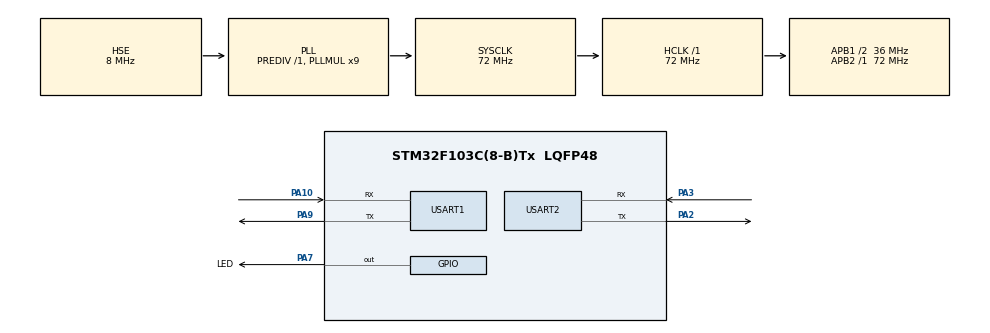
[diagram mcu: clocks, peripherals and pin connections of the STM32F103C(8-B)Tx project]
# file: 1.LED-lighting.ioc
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Dma.Request0=USART2_RX
Dma.USART2_RX.0.Direction=DMA_PERIPH_TO_MEMORY
Dma.USART2_RX.0.Instance=DMA1_Channel6
Dma.USART2_RX.0.MemDataAlignment=DMA_MDATAALIGN_BYTE
Dma.USART2_RX.0.MemInc=DMA_MINC_ENABLE
Dma.USART2_RX.0.Mode=DMA_CIRCULAR
Dma.USART2_RX.0.PeriphDataAlignment=DMA_PDATAALIGN_BYTE
Dma.USART2_RX.0.PeriphInc=DMA_PINC_DISABLE
Dma.USART2_RX.0.Priority=DMA_PRIORITY_LOW
Mcu.Family=STM32F1
Mcu.Name=STM32F103C(8-B)Tx
Mcu.Package=LQFP48
NVIC.DMA1_Channel6_IRQn=true\:0\:0\:false\:false\:true\:false\:true\:true
NVIC.PriorityGroup=NVIC_PRIORITYGROUP_4
NVIC.USART2_IRQn=true\:0\:0\:false\:false\:true\:true\:true\:true
PA0-WKUP.Mode=SYS_WakeUp0
PA0-WKUP.Signal=SYS_WKUP
PA10.Mode=Asynchronous
PA10.Signal=USART1_RX
PA2.Mode=Asynchronous
PA2.Signal=USART2_TX
PA3.GPIO_PuPd=GPIO_PULLUP
PA3.Mode=Asynchronous
PA3.Signal=USART2_RX
PA7.GPIO_Label=LED
PA7.Signal=GPIO_Output
PA8.Signal=USART1_CK
PA9.Mode=Asynchronous
PA9.Signal=USART1_TX
PC14-OSC32_IN.Mode=LSE-External-Oscillator
PC14-OSC32_IN.Signal=RCC_OSC32_IN
PC15-OSC32_OUT.Mode=LSE-External-Oscillator
PC15-OSC32_OUT.Signal=RCC_OSC32_OUT
PD0-OSC_IN.Mode=HSE-External-Oscillator
PD0-OSC_IN.Signal=RCC_OSC_IN
PD1-OSC_OUT.Mode=HSE-External-Oscillator
PD1-OSC_OUT.Signal=RCC_OSC_OUT
ProjectManager.HeapSize=0x200
ProjectManager.StackSize=0x400
ProjectManager.TargetToolchain=MDK-ARM V5.32
RCC.AHBFreq_Value=72000000
RCC.APB1CLKDivider=RCC_HCLK_DIV2
RCC.APB1Freq_Value=36000000
RCC.APB1TimFreq_Value=72000000
RCC.APB2Freq_Value=72000000
RCC.APB2TimFreq_Value=72000000
RCC.HCLKFreq_Value=72000000
RCC.PLLMUL=RCC_PLL_MUL9
RCC.PLLSourceVirtual=RCC_PLLSOURCE_HSE
RCC.SYSCLKFreq_VALUE=72000000
RCC.SYSCLKSource=RCC_SYSCLKSOURCE_PLLCLK
RCC.USBFreq_Value=72000000
USART1.VirtualMode=VM_ASYNC
USART2.VirtualMode=VM_ASYNC
VP_SYS_VS_ND.Mode=No_Debug
board=custom

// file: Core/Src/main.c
/* USER CODE BEGIN Header */
/**
  ******************************************************************************
  * @file           : main.c
  * @brief          : Main program body
  ******************************************************************************
  * @attention
  *
  * Copyright (c) 2024 STMicroelectronics.
  * All rights reserved.
  *
  * This software is licensed under terms that can be found in the LICENSE file
  * in the root directory of this software component.
  * If no LICENSE file comes with this software, it is provided AS-IS.
  *
  ******************************************************************************
  */
/* USER CODE END Header */
#include "main.h"
#include "dma.h"
#include "usart.h"
#include "gpio.h"

/* USER CODE BEGIN PV */
extern uint16_t Data[4];
/* USER CODE END PV */

void SystemClock_Config(void);

/* USER CODE BEGIN 0 */
uint8_t RX2_DATA[RX2_LEN] = {0};
uint8_t RX2_OFFSET = 0;
/* USER CODE END 0 */

int main(void)
{

  /* MCU Configuration--------------------------------------------------------*/

  /* Reset of all peripherals, Initializes the Flash interface and the Systick. */
  HAL_Init();

  /* Configure the system clock */
  SystemClock_Config();

  /* Initialize all configured peripherals */
  MX_GPIO_Init();
  MX_DMA_Init();
  MX_USART2_UART_Init();
  MX_USART1_UART_Init();
  /* USER CODE BEGIN 2 */
//HAL_UART_Receive_IT(&huart2, (uint8_t *)Data, 4);  // 开启usart2 接收中断
//HAL_UART_Receive_DMA(&huart2, (uint8_t *)Data, 4);  //启用usart2 dma功能

HAL_UART_Receive_DMA(&huart2, (uint8_t *)RX2_DATA, RX2_LEN); //使能uart2，dma功能
__HAL_UART_ENABLE_IT(&huart2, UART_IT_IDLE);  //使能uart2， idle中断
printf(" PWR 测试程序\n");
HAL_PWR_EnableWakeUpPin(PWR_WAKEUP_PIN1);  //开启wakeup 引脚唤醒功能
//HAL_UART_Transmit_DMA(&huart2, (uint8_t *)"USART DMA TEST", sizeof("USART DMA TEST"));

  /* USER CODE END 2 */

  /* Infinite loop */
  /* USER CODE BEGIN WHILE */
  while (1)
  {

		LED_SwitchStatus();
		HAL_Delay(2000);
		LED_SwitchStatus();
		printf("system running\n");

		LED_SwitchStatus();
		HAL_SuspendTick();  //暂停嘀嗒定时器
		printf("system standby\n");

		SystemClock_Config();   // 从新初始化时钟

		HAL_ResumeTick();  // 恢复滴答定时器
		printf("system wakeup\n");

		// 不恢复嘀嗒定时器，将不再执行while循环

		printf("sysclk = %d hclk = %d pclk:%d pclk2:%d\n source:%d \n ", HAL_RCC_GetSysClockFreq(),HAL_RCC_GetHCLKFreq(),
		HAL_RCC_GetPCLK1Freq(), HAL_RCC_GetPCLK2Freq(), __HAL_RCC_GET_SYSCLK_SOURCE());
     __HAL_RCC_PWR_CLK_ENABLE();     //使能PWR时钟
    __HAL_PWR_CLEAR_FLAG(PWR_FLAG_WU);      //清除Wake_UP标志
		HAL_PWR_EnterSTANDBYMode();  // 待机（关机）模式
		/* USER CODE END WHILE */

    /* USER CODE BEGIN 3 */
		//LED_SwitchStatus();
		//printf("白哥测试\n");
		//HAL_Delay(1000);

		//HAL_Delay(500);

  }
  /* USER CODE END 3 */
}

void SystemClock_Config(void)
{
  RCC_OscInitTypeDef RCC_OscInitStruct = {0};
  RCC_ClkInitTypeDef RCC_ClkInitStruct = {0};

  /** Initializes the RCC Oscillators according to the specified parameters
  * in the RCC_OscInitTypeDef structure.
  */
  RCC_OscInitStruct.OscillatorType = RCC_OSCILLATORTYPE_HSE;
  RCC_OscInitStruct.HSEState = RCC_HSE_ON;
  RCC_OscInitStruct.HSEPredivValue = RCC_HSE_PREDIV_DIV1;
  RCC_OscInitStruct.HSIState = RCC_HSI_ON;
  RCC_OscInitStruct.PLL.PLLState = RCC_PLL_ON;
  RCC_OscInitStruct.PLL.PLLSource = RCC_PLLSOURCE_HSE;
  RCC_OscInitStruct.PLL.PLLMUL = RCC_PLL_MUL9;
  if (HAL_RCC_OscConfig(&RCC_OscInitStruct) != HAL_OK)
  {
    Error_Handler();
  }

  /** Initializes the CPU, AHB and APB buses clocks
  */
  RCC_ClkInitStruct.ClockType = RCC_CLOCKTYPE_HCLK|RCC_CLOCKTYPE_SYSCLK
                              |RCC_CLOCKTYPE_PCLK1|RCC_CLOCKTYPE_PCLK2;
  RCC_ClkInitStruct.SYSCLKSource = RCC_SYSCLKSOURCE_PLLCLK;
  RCC_ClkInitStruct.AHBCLKDivider = RCC_SYSCLK_DIV1;
  RCC_ClkInitStruct.APB1CLKDivider = RCC_HCLK_DIV2;
  RCC_ClkInitStruct.APB2CLKDivider = RCC_HCLK_DIV1;

  if (HAL_RCC_ClockConfig(&RCC_ClkInitStruct, FLASH_LATENCY_2) != HAL_OK)
  {
    Error_Handler();
  }
}

void Error_Handler(void)
{
  __disable_irq();
  while (1)
  {
  }
}
